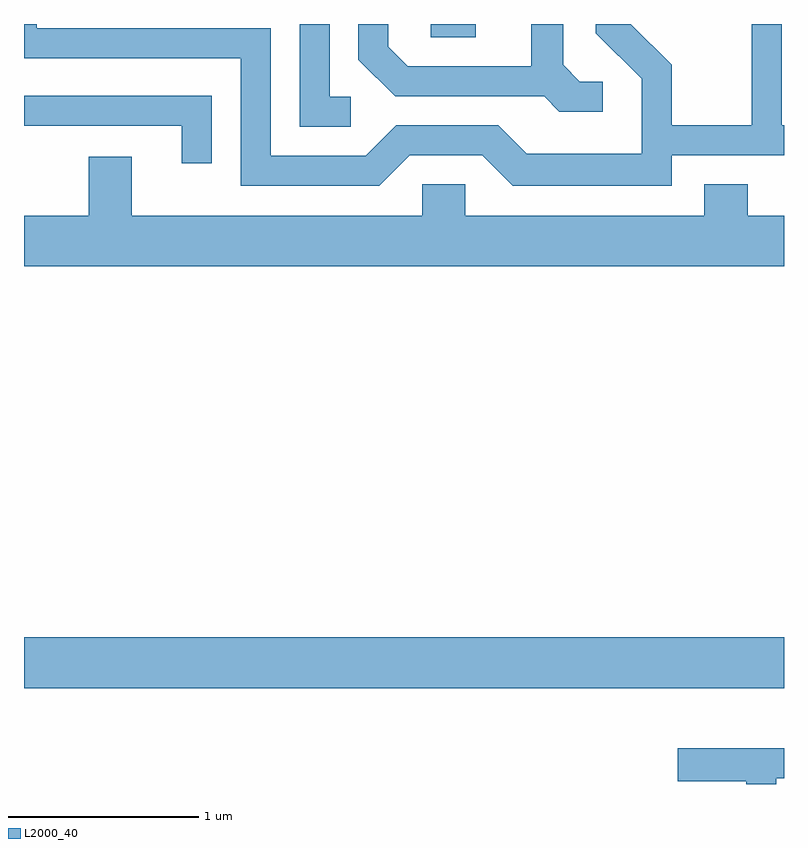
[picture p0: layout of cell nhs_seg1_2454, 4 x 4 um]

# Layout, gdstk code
import gdstk
lib = gdstk.Library(unit=1e-6, precision=1e-09)
def R(c, l, rs):  # rectangles x0, y0, x1, y1
    for r in rs: c.add(gdstk.rectangle(r[:2], r[2:], *l))
def P(c, l, *ps):  # polygons
    for p in ps: c.add(gdstk.Polygon(p, *l))
L2000_40 = (2000, 40)

nhs_seg1_2454 = lib.new_cell('nhs_seg1_2454')
R(nhs_seg1_2454, L2000_40, [(259.611,926.216,263.611,926.484), (261.751,929.641,261.989,929.712)])
P(nhs_seg1_2454, L2000_40, [(261.642,929.021),(262.024,929.021),(262.184,928.861),(263.019,928.861),(263.019,929.021),(263.611,929.021),(263.611,929.179),(263.599,929.179),(263.599,929.712),(263.441,929.712),(263.441,929.179),(263.019,929.179),(263.019,929.497),(262.804,929.712),(262.621,929.712),(262.621,929.664),(262.861,929.424),(262.861,929.029),(262.257,929.029),(262.106,929.179),(261.569,929.179),(261.409,929.019),(260.909,929.019),(260.909,929.689),(259.679,929.689),(259.679,929.712),(259.611,929.712),(259.611,929.531),(260.751,929.531),(260.751,928.861),(261.481,928.861)],
  [(261.332,929.329),(261.219,929.329),(261.219,929.712),(261.061,929.712),(261.061,929.171),(261.332,929.171)],
  [(262.658,929.409),(262.537,929.409),(262.449,929.497),(262.449,929.712),(262.281,929.712),(262.281,929.489),(261.632,929.489),(261.529,929.592),(261.529,929.712),(261.371,929.712),(261.371,929.524),(261.564,929.331),(262.349,929.331),(262.429,929.251),(262.658,929.251)],
  [(260.599,929.334),(259.611,929.334),(259.611,929.176),(260.441,929.176),(260.441,928.978),(260.599,928.978)],
  [(263.611,928.704),(263.419,928.704),(263.419,928.869),(263.191,928.869),(263.191,928.704),(261.934,928.704),(261.934,928.869),(261.706,928.869),(261.706,928.704),(260.179,928.704),(260.179,929.014),(259.951,929.014),(259.951,928.704),(259.611,928.704),(259.611,928.436),(263.611,928.436)],
  [(263.569,925.741),(263.611,925.741),(263.611,925.899),(263.051,925.899),(263.051,925.726),(263.411,925.726),(263.411,925.712),(263.569,925.712)])

lib.write_gds('nhs_seg1_2454.gds')
